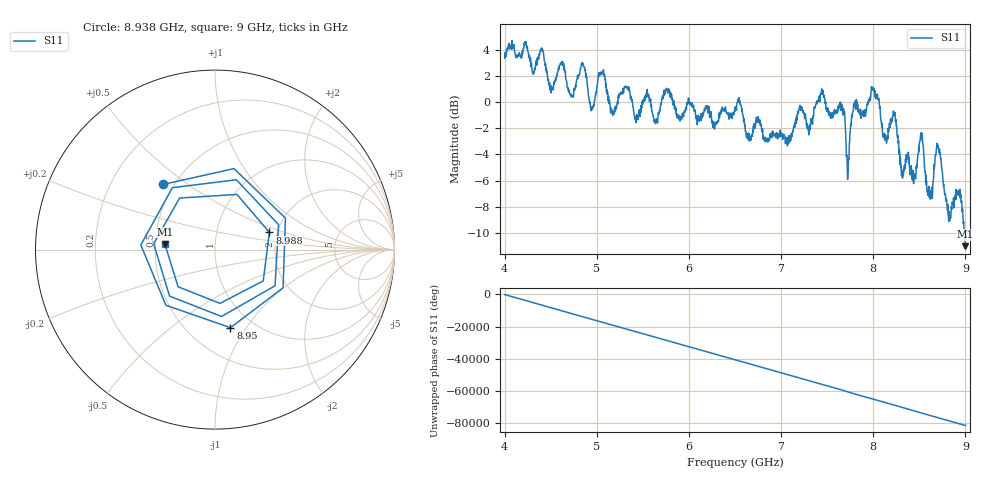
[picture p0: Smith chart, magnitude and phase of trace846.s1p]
! Created with skrf 1.8.0 (http://scikit-rf.org).
# Hz S RI R 50.0
!freq ReS11 ImS11
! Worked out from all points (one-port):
!   1601 points, 4 GHz to 9 GHz, reference 50 ohm
!   lowest |S11| = -11.0 dB at 9 GHz (marker M1), VSWR 1.78, Z = 28.1 + j1.9 ohm
!   |S11| at or under -10 dB: 8.991625 GHz to end of sweep
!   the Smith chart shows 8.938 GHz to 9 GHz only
!   S11 on the Smith chart (normalised r, x): 8.938 GHz: 0.44, +0.40; 8.95 GHz: 0.78, -0.85; 8.988 GHz: 1.82, +0.39; 9 GHz: 0.56, +0.04
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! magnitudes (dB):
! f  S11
! 4 GHz  3.4
! 4.4 GHz  4.1
! 4.506 GHz  0.7
! 4.625 GHz  2.8
! 4.725 GHz  0.4
! 4.853 GHz  2.8
! 4.944 GHz  -0.4
! 5.05 GHz  2.1
! 5.166 GHz  -0.7
! 5.25 GHz  0.5
! 5.875 GHz  -1.1
! 6.5 GHz  -0.7
! 7.125 GHz  -2.2
! 7.447 GHz  0.6
! 7.75 GHz  -2.3
! 8 GHz  1.0
! 8.125 GHz  -2.9
! 8.225 GHz  -1.1
! 8.375 GHz  -4.0
! 8.444 GHz  -5.5
! 8.525 GHz  -2.9
! 8.619 GHz  -7.4
! 8.703 GHz  -3.3
! 8.819 GHz  -9.1
! 8.938 GHz  -6.7
! 8.95 GHz  -7.1
! 8.988 GHz  -10.0
! 9 GHz  -11.0
